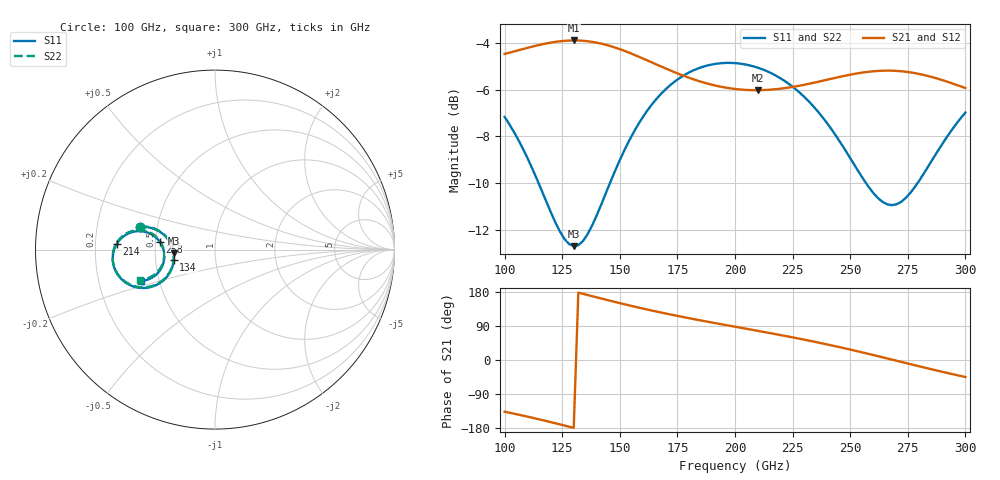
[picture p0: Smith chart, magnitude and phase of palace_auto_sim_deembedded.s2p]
! Created with skrf 1.11.0 (http://scikit-rf.org).
# GHz S DB R 50.0
!freq dBS11 angS11 dBS21 angS21 dBS12 angS12 dBS22 angS22
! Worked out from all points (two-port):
!   101 points, 100 GHz to 300 GHz, reference 50 ohm
!   highest |S21| = -3.88 dB at 130 GHz (marker M1); lowest = -6.0 dB at 210 GHz (marker M2)
!   |S21| within 3 dB of the highest: start of sweep to end of sweep
!   lowest |S11| = -12.7 dB at 130 GHz (marker M3), VSWR 1.60, Z = 31.2 - j1.42 ohm
!   |S11| at or under -10 dB: 114.7 GHz to 145.7 GHz (30.98 GHz wide, 23.8 % of centre); 256.9 GHz to 279.2 GHz (22.34 GHz wide, 8.33 % of centre)
!   |S22| runs from -12.7 to -4.8 dB; largest |S21 - S12| = 8.7e-14
!   S11 on the Smith chart (normalised r, x): 100 GHz: 0.40, +0.12; 134 GHz: 0.62, -0.08; 214 GHz: 0.29, +0.03; 258 GHz: 0.53, +0.05; 300 GHz: 0.39, -0.17
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100  -7.16 163.4  -4.46 -136.5  -4.46 -136.5  -7.16 163.1
108  -8.54 161.2  -4.25 -146.9  -4.25 -146.9  -8.54 160.9
114  -9.83 162.1  -4.10 -155.2  -4.10 -155.2  -9.83 161.7
124  -12.07 172.5  -3.92 -169.9  -3.92 -169.9  -12.08 172.1
130  -12.71 -174.7  -3.88 -179.1  -3.88 -179.1  -12.71 -175.1
134  -12.49 -165.5  -3.89 174.6  -3.89 174.6  -12.49 -166.0
142  -10.90 -152.7  -4.02 162.2  -4.02 162.2  -10.90 -153.2
152  -8.59 -148.8  -4.33 147.2  -4.33 147.2  -8.59 -149.3
160  -7.17 -150.9  -4.65 135.8  -4.65 135.8  -7.17 -151.4
168  -6.16 -155.0  -5.00 125.2  -5.00 125.2  -6.16 -155.5
184  -5.08 -164.9  -5.61 105.7  -5.61 105.7  -5.08 -165.5
200  -4.85 -174.9  -5.96 87.8  -5.96 87.8  -4.85 -175.6
210  -5.05 179.1  -6.01 76.8  -6.01 76.8  -5.05 178.4
214  -5.20 176.9  -6.00 72.4  -6.00 72.4  -5.20 176.1
234  -6.70 167.5  -5.70 48.8  -5.70 48.8  -6.70 166.7
246  -8.30 165.9  -5.43 33.1  -5.43 33.1  -8.29 165.0
258  -10.16 172.0  -5.22 16.1  -5.22 16.1  -10.15 171.1
268  -10.94 -175.1  -5.18 1.2  -5.18 1.2  -10.93 -176.0
274  -10.65 -166.6  -5.22 -7.8  -5.22 -7.8  -10.63 -167.6
282  -9.58 -158.9  -5.36 -19.6  -5.36 -19.6  -9.57 -159.9
292  -8.02 -155.9  -5.65 -34.0  -5.65 -34.0  -8.01 -156.9
300  -6.97 -157.1  -5.92 -44.9  -5.92 -44.9  -6.97 -158.1
